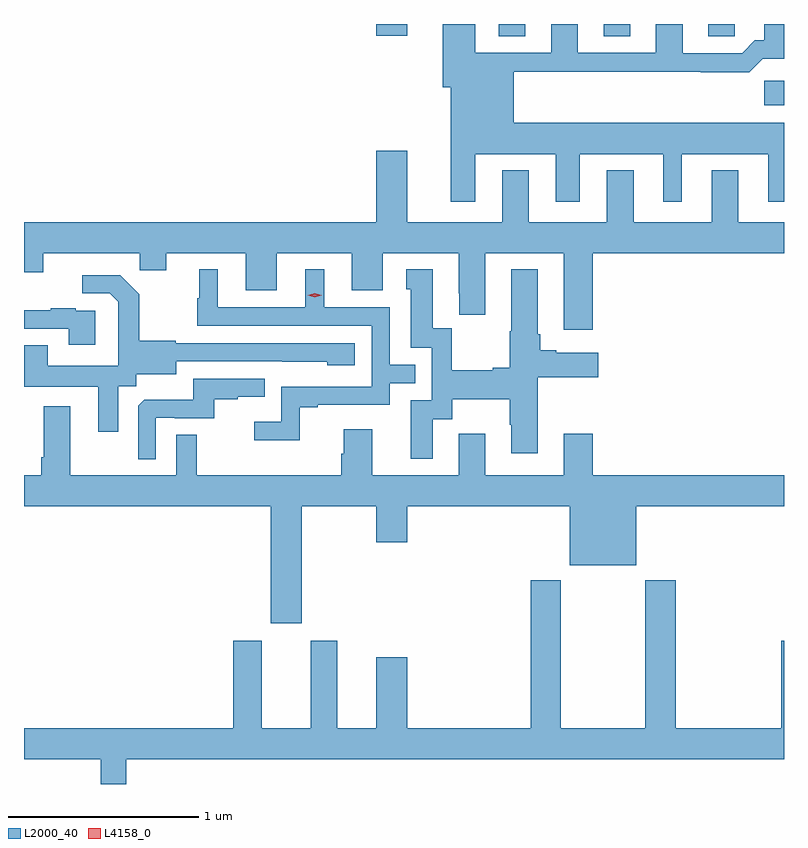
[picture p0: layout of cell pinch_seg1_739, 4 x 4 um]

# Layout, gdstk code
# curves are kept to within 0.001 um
import gdstk
lib = gdstk.Library(unit=1e-6, precision=1e-09)
def R(c, l, rs):  # rectangles x0, y0, x1, y1
    for r in rs: c.add(gdstk.rectangle(r[:2], r[2:], *l))
def P(c, l, *ps):  # polygons
    for p in ps: c.add(gdstk.Polygon(p, *l))
L2000_40 = (2000, 40)
L4158_0 = (4158, 0)

pinch_seg1_739 = lib.new_cell('pinch_seg1_739')
R(pinch_seg1_739, L2000_40, [(838.38,541.856,838.483,541.985), (836.981,542.218,837.121,542.283), (837.533,542.218,837.673,542.283), (838.085,542.218,838.224,542.283), (836.336,542.22,836.5,542.283)])
P(pinch_seg1_739, L2000_40, [(836.857,541.598),(837.281,541.598),(837.281,541.347),(837.409,541.347),(837.409,541.598),(837.848,541.598),(837.848,541.347),(837.946,541.347),(837.946,541.598),(838.4,541.598),(838.4,541.347),(838.483,541.347),(838.483,541.762),(837.061,541.762),(837.061,542.032),(838.045,542.032),(838.045,542.03),(838.301,542.03),(838.37,542.099),(838.483,542.099),(838.483,542.283),(838.379,542.283),(838.379,542.197),(838.33,542.197),(838.263,542.13),(837.949,542.13),(837.949,542.283),(837.809,542.283),(837.809,542.133),(837.397,542.133),(837.397,542.283),(837.257,542.283),(837.257,542.133),(836.857,542.133),(836.857,542.283),(836.687,542.283),(836.687,541.949),(836.729,541.949),(836.729,541.347),(836.857,541.347)],
  [(836.999,541.513),(836.999,541.24),(836.5,541.24),(836.5,541.615),(836.336,541.615),(836.336,541.24),(834.483,541.24),(834.483,540.977),(834.583,540.977),(834.583,541.076),(835.093,541.076),(835.093,540.986),(835.231,540.986),(835.231,541.076),(835.649,541.076),(835.649,540.882),(835.813,540.882),(835.813,541.076),(836.207,541.076),(836.207,540.882),(836.371,540.882),(836.371,541.076),(836.771,541.076),(836.771,540.865),(836.774,540.865),(836.774,540.753),(836.911,540.753),(836.911,541.076),(837.323,541.076),(837.323,540.675),(837.476,540.675),(837.476,541.076),(838.483,541.076),(838.483,541.24),(838.243,541.24),(838.243,541.513),(838.103,541.513),(838.103,541.24),(837.691,541.24),(837.691,541.513),(837.551,541.513),(837.551,541.24),(837.139,541.24),(837.139,541.513)],
  [(835.935,540.267),(836.029,540.267),(836.029,540.279),(836.409,540.279),(836.409,540.393),(836.543,540.393),(836.543,540.489),(836.409,540.489),(836.409,540.792),(836.062,540.792),(836.062,540.991),(835.964,540.991),(835.964,540.792),(835.504,540.792),(835.504,540.991),(835.406,540.991),(835.406,540.84),(835.395,540.84),(835.395,540.696),(836.313,540.696),(836.313,540.375),(835.836,540.375),(835.836,540.19),(835.695,540.19),(835.695,540.092),(835.935,540.092)],
  [(836.635,540.202),(836.737,540.202),(836.737,540.308),(837.04,540.308),(837.04,540.174),(837.047,540.174),(837.047,540.024),(837.187,540.024),(837.187,540.424),(837.505,540.424),(837.505,540.553),(837.283,540.553),(837.283,540.566),(837.2,540.566),(837.2,540.649),(837.187,540.649),(837.187,540.991),(837.047,540.991),(837.047,540.665),(837.04,540.665),(837.04,540.473),(836.951,540.473),(836.951,540.46),(836.733,540.46),(836.733,540.683),(836.635,540.683),(836.635,540.991),(836.495,540.991),(836.495,540.888),(836.519,540.888),(836.519,540.579),(836.628,540.579),(836.628,540.303),(836.519,540.303),(836.519,539.994),(836.635,539.994)],
  [(834.979,540.376),(835.074,540.376),(835.074,540.44),(835.285,540.44),(835.285,540.507),(836.079,540.506),(836.079,540.488),(836.224,540.488),(836.224,540.603),(835.281,540.603),(835.281,540.616),(835.089,540.616),(835.089,540.861),(834.989,540.961),(834.789,540.961),(834.789,540.867),(834.933,540.867),(834.98,540.82),(834.98,540.725),(834.978,540.725),(834.978,540.484),(834.607,540.484),(834.607,540.593),(834.483,540.593),(834.483,540.374),(834.875,540.374),(834.875,540.138),(834.979,540.138)],
  [(834.859,540.774),(834.755,540.774),(834.755,540.787),(834.623,540.787),(834.623,540.776),(834.483,540.776),(834.483,540.678),(834.719,540.678),(834.719,540.594),(834.859,540.594)],
  [(835.176,540.21),(835.276,540.21),(835.276,540.207),(835.484,540.207),(835.484,540.309),(835.607,540.309),(835.607,540.32),(835.751,540.32),(835.751,540.417),(835.374,540.417),(835.374,540.305),(835.115,540.305),(835.083,540.273),(835.083,539.993),(835.176,539.993)],
  [(835.945,539.744),(836.336,539.744),(836.336,539.556),(836.5,539.556),(836.5,539.744),(837.356,539.744),(837.356,539.435),(837.706,539.435),(837.706,539.744),(838.483,539.744),(838.483,539.908),(837.476,539.908),(837.476,540.127),(837.323,540.127),(837.323,539.908),(836.911,539.908),(836.911,540.127),(836.771,540.127),(836.771,539.908),(836.317,539.908),(836.317,540.151),(836.165,540.151),(836.165,540.021),(836.153,540.021),(836.153,539.908),(835.393,539.908),(835.393,540.122),(835.284,540.122),(835.284,539.908),(834.727,539.908),(834.727,540.271),(834.587,540.271),(834.587,540.004),(834.575,540.004),(834.575,539.908),(834.483,539.908),(834.483,539.744),(835.781,539.744),(835.781,539.13),(835.945,539.13)],
  [(835.022,538.412),(838.483,538.412),(838.483,539.038),(838.469,539.038),(838.469,538.576),(837.914,538.576),(837.914,539.356),(837.754,539.356),(837.754,538.576),(837.309,538.576),(837.309,539.356),(837.149,539.356),(837.149,538.576),(836.5,538.576),(836.5,538.951),(836.336,538.951),(836.336,538.576),(836.131,538.576),(836.131,539.038),(835.991,539.038),(835.991,538.576),(835.735,538.576),(835.735,539.038),(835.583,539.038),(835.583,538.576),(834.483,538.576),(834.483,538.412),(834.886,538.412),(834.886,538.283),(835.022,538.283)])
P(pinch_seg1_739, L4158_0, [(836.013,540.845),(835.977,540.855),(835.977,540.855),(835.977,540.856),(836.013,540.865),(836.049,540.856),(836.049,540.855),(836.049,540.855)])

lib.write_gds('pinch_seg1_739.gds')
